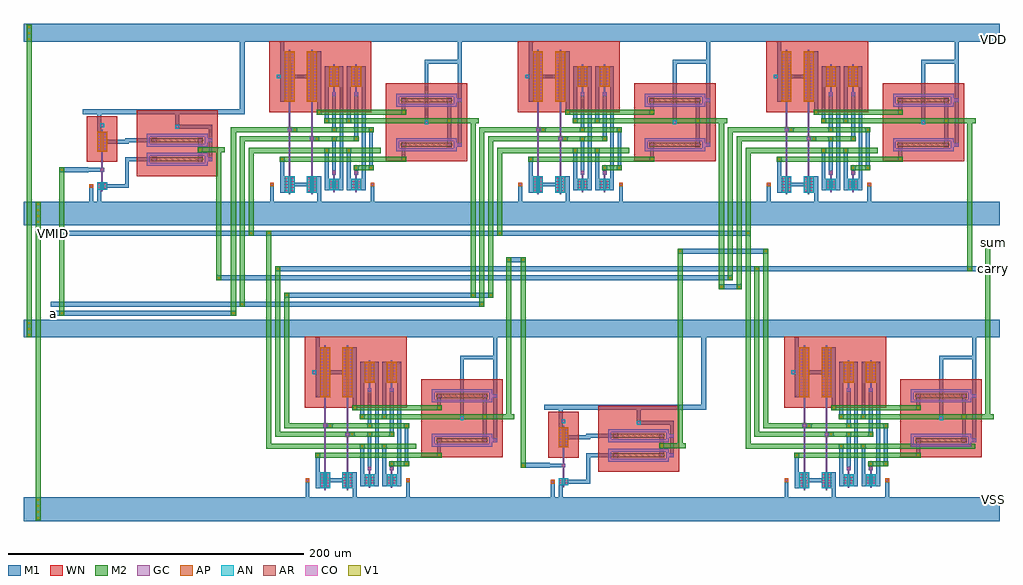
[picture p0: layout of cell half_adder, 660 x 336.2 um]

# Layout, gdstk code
import gdstk
lib = gdstk.Library(unit=1e-6, precision=1e-09)
def R(c, l, rs):  # rectangles x0, y0, x1, y1
    for r in rs: c.add(gdstk.rectangle(r[:2], r[2:], *l))
def A(c, l, x, y, w, h, nx, ny, dx, dy):  # array of equal rectangles
    R(c, l, [(x+i*dx, y+j*dy, x+i*dx+w, y+j*dy+h) for i in range(nx) for j in range(ny)])
def P(c, l, *ps):  # polygons
    for p in ps: c.add(gdstk.Polygon(p, *l))
AP = (3, 1)
AN = (3, 2)
AR = (3, 3)
GC = (8, 1)
CO = (11, 0)
M1 = (13, 0)
V1 = (19, 0)
M2 = (20, 0)
WN = (140, 0)

fet_p = lib.new_cell('fet_p')
R(fet_p, AP, [(-3.3,-6.75,3.3,6.75)])
A(fet_p, CO, -2.5, -5.5, 1, 1, 1, 6, 0, 2)
A(fet_p, CO, 1.5, -5.5, 1, 1, 1, 6, 0, 2)
R(fet_p, M1, [(-3.3,-6.3,-0.7,6.3), (0.7,-6.3,3.3,6.3)])
fet_p.add(gdstk.FlexPath([(0,-7.95),(0,7.95)], 1, ends="flush", simple_path=True, layer=8, datatype=1))  # GC

fet_n = lib.new_cell('fet_n')
R(fet_n, AN, [(-3.3,-2.5,3.3,2.5)])
R(fet_n, CO, [(-2.5,-1.5,-1.5,-0.5), (1.5,-1.5,2.5,-0.5), (-2.5,0.5,-1.5,1.5), (1.5,0.5,2.5,1.5)])
R(fet_n, M1, [(-3.3,-2.3,-0.7,2.3), (0.7,-2.3,3.3,2.3)])
fet_n.add(gdstk.FlexPath([(0,-3.7),(0,3.7)], 1, ends="flush", simple_path=True, layer=8, datatype=1))  # GC

res_diff = lib.new_cell('res_diff')
P(res_diff, AR, [(-16.5,-1.4),(-17.5,-0.4),(-17.5,0.4),(-16.5,1.4),(16.5,1.4),(17.5,0.4),(17.5,-0.4),(16.5,-1.4)])
P(res_diff, GC, [(-20.5,-4.4),(-20.5,2.4),(-18.5,2.4),(-18.5,-2.4),(18.5,-2.4),(18.5,2.4),(-20.5,2.4),(-20.5,4.4),(20.5,4.4),(20.5,-4.4)])
R(res_diff, CO, [(-16,-0.5,-15,0.5), (15,-0.5,16,0.5)])
R(res_diff, M1, [(-17.2,-1.7,-13.8,1.7), (13.8,-1.7,17.2,1.7)])

cont_n = lib.new_cell('cont_n')
R(cont_n, AN, [(-1.3,-1.3,1.3,1.3)])
R(cont_n, CO, [(-0.5,-0.5,0.5,0.5)])
R(cont_n, M1, [(-1.3,-1.3,1.3,1.3)])

cont_p = lib.new_cell('cont_p')
R(cont_p, AP, [(-1.3,-1.3,1.3,1.3)])
R(cont_p, CO, [(-0.5,-0.5,0.5,0.5)])
R(cont_p, M1, [(-1.3,-1.3,1.3,1.3)])

cont_g = lib.new_cell('cont_g')
R(cont_g, GC, [(-1.3,-1.3,1.3,1.3)])
R(cont_g, CO, [(-0.5,-0.5,0.5,0.5)])
R(cont_g, M1, [(-1.3,-1.3,1.3,1.3)])

via_1 = lib.new_cell('via_1')
R(via_1, M1, [(-1.7,-1.7,1.7,1.7)])
R(via_1, V1, [(-0.7,-0.7,0.7,0.7)])
R(via_1, M2, [(-1.7,-1.7,1.7,1.7)])

inverter = lib.new_cell('inverter')
R(inverter, GC, [(12.7,13.5,13.7,44.5), (83.2,30.7,87.8,33.3), (83.2,43.7,87.8,46.3)])
R(inverter, M1, [(0,0,96,3.4), (4.5,0.4,7.1,15.3), (9.9,0.4,12.5,15.3), (13.9,12.7,31.3,15.3), (28.7,12.7,31.3,33.3), (0,23.7,13.2,26.3), (28.7,30.7,49.8,33.3), (78.2,30.7,80.8,46.3), (85.2,30.7,87.8,55.3), (9.9,42.7,12.5,65.6), (13.9,42.7,31.3,45.3), (28.7,42.7,31.3,46.3), (28.7,43.7,49.8,46.3), (62.7,52.7,65.3,65.6), (62.7,52.7,87.8,55.3), (9.9,53.7,14.5,56.3), (0,62.6,96,66)])
R(inverter, M2, [(79.5,36.8,96,40.2)])
R(inverter, WN, [(36.5,20.6,91.5,65.3), (2.9,30.25,23.5,61.3)])
inverter.add(gdstk.Reference(fet_p, (13.2,44)))
inverter.add(gdstk.Reference(fet_n, (13.2,14)))
inverter.add(gdstk.Reference(res_diff, (64,45)))
inverter.add(gdstk.Reference(res_diff, (64,32)))
inverter.add(gdstk.Reference(cont_n, (13.2,55)))
inverter.add(gdstk.Reference(cont_n, (64,54)))
inverter.add(gdstk.Reference(cont_p, (5.8,14)))
inverter.add(gdstk.Reference(cont_g, (86.5,32)))
inverter.add(gdstk.Reference(cont_g, (86.5,45)))
inverter.add(gdstk.Reference(cont_g, (13.2,25)))
inverter.add(gdstk.Reference(via_1, (79.5,38.5)))
inverter.add(gdstk.Label('vin', (2,25), layer=48, texttype=0))
inverter.add(gdstk.Label('VDD', (48,64.3), layer=48, texttype=0))
inverter.add(gdstk.Label('VSS', (48,1.7), layer=48, texttype=0))
inverter.add(gdstk.Label('vout', (94,38.5), layer=49, texttype=0))

fet_p_1 = lib.new_cell('fet_p$1')
R(fet_p_1, AP, [(-3.3,-17,3.3,17)])
A(fet_p_1, CO, -2.5, -15.5, 1, 1, 1, 16, 0, 2)
A(fet_p_1, CO, 1.5, -15.5, 1, 1, 1, 16, 0, 2)
R(fet_p_1, M1, [(-3.3,-16.3,-0.7,16.3), (0.7,-16.3,3.3,16.3)])
fet_p_1.add(gdstk.FlexPath([(0,-18.2),(0,18.2)], 1, ends="flush", simple_path=True, layer=8, datatype=1))  # GC

fet_p_2 = lib.new_cell('fet_p$2')
R(fet_p_2, AP, [(-3.3,-7,3.3,7)])
A(fet_p_2, CO, -2.5, -5.5, 1, 1, 1, 6, 0, 2)
A(fet_p_2, CO, 1.5, -5.5, 1, 1, 1, 6, 0, 2)
R(fet_p_2, M1, [(-3.3,-6.3,-0.7,6.3), (0.7,-6.3,3.3,6.3)])
fet_p_2.add(gdstk.FlexPath([(0,-8.2),(0,8.2)], 1, ends="flush", simple_path=True, layer=8, datatype=1))  # GC

fet_n_1 = lib.new_cell('fet_n$1')
R(fet_n_1, AN, [(-3.3,-5.5,3.3,5.5)])
A(fet_n_1, CO, -2.5, -4.5, 1, 1, 1, 5, 0, 2)
A(fet_n_1, CO, 1.5, -4.5, 1, 1, 1, 5, 0, 2)
R(fet_n_1, M1, [(-3.3,-5.3,-0.7,5.3), (0.7,-5.3,3.3,5.3)])
fet_n_1.add(gdstk.FlexPath([(0,-6.7),(0,6.7)], 1, ends="flush", simple_path=True, layer=8, datatype=1))  # GC

fet_n_2 = lib.new_cell('fet_n$2')
R(fet_n_2, AN, [(-3.3,-4,3.3,4)])
A(fet_n_2, CO, -2.5, -2.5, 1, 1, 1, 3, 0, 2)
A(fet_n_2, CO, 1.5, -2.5, 1, 1, 1, 3, 0, 2)
R(fet_n_2, M1, [(-3.3,-3.3,-0.7,3.3), (0.7,-3.3,3.3,3.3)])
fet_n_2.add(gdstk.FlexPath([(0,-5.2),(0,5.2)], 1, ends="flush", simple_path=True, layer=8, datatype=1))  # GC

nany = lib.new_cell('nany')
R(nany, GC, [(19.5,14.5,20.5,88.5), (34.5,14.5,35.5,88.5), (49.5,14.5,50.5,23.5), (64.5,14.5,65.5,23.5), (131.7,40.7,136.3,43.3), (131.7,70.7,136.3,73.3), (49.5,75.5,50.5,88.5), (64.5,75.5,65.5,88.5)])
R(nany, M1, [(0,0,148,3.4), (6.7,0.4,9.3,16.3), (38.7,0.4,41.3,16.3), (74.7,0.4,77.3,16.3), (13.7,9.5,19.3,20.5), (35.7,9.5,41.3,20.5), (43.7,11,49.3,19), (50.7,11,56.3,19), (58.7,11,64.3,19), (65.7,11,71.3,19), (13.7,13.7,19.3,16.3), (13.7,13.7,16.3,33.3), (20.7,13.7,34.3,16.3), (35.7,13.7,41.3,16.3), (43.7,13.7,49.3,16.3), (43.7,13.7,46.3,39.3), (50.7,13.7,56.3,16.3), (53.7,13.7,56.3,89.3), (58.7,13.7,64.3,16.3), (58.7,13.7,61.3,39.3), (65.7,13.7,71.3,16.3), (68.7,13.7,71.3,89.3), (48.7,21.7,51.3,47.3), (48.7,21.7,51.3,24.3), (63.7,21.7,66.3,27.6), (73.7,25,76.3,27.6), (73.7,25,76.3,53.3), (95.7,30.7,98.3,43.3), (95.7,40.7,98.3,43.3), (126.7,40.7,129.3,73.3), (133.7,40.7,136.3,99.3), (33.7,44.7,39.6,47.3), (63.7,44.7,66.3,77.3), (18.7,50.7,24.6,53.3), (48.7,50.7,51.3,77.3), (111.2,55.7,113.8,99.3), (43.7,56.7,46.3,89.3), (58.7,56.7,61.3,89.3), (38.7,62.7,41.3,89.3), (95.7,62.7,98.3,73.3), (95.7,70.7,98.3,73.3), (13.7,71,19.3,105), (35.7,71,41.3,105), (48.7,74.7,51.3,77.3), (63.7,74.7,66.3,77.3), (43.7,81,49.3,95), (50.7,81,56.3,95), (58.7,81,64.3,95), (65.7,81,71.3,95), (11.3,86.7,16.3,89.3), (13.7,86.7,16.3,114.6), (13.7,86.7,19.3,89.3), (20.7,86.7,34.3,89.3), (35.7,86.7,41.3,89.3), (43.7,86.7,49.3,89.3), (50.7,86.7,56.3,89.3), (58.7,86.7,64.3,89.3), (65.7,86.7,71.3,89.3), (111.2,96.7,136.3,99.3), (133.7,96.7,136.3,114.6), (0,111.6,148,115)])
R(nany, M2, [(63.3,24.6,76.7,28), (13.3,30.3,98.7,33.7), (0,36.3,81.7,39.7), (0,44.3,66.7,47.7), (0,50.3,76.7,53.7), (43.3,56.3,148,59.7), (38.3,62.3,98.7,65.7)])
R(nany, WN, [(85,30.6,140,83.4), (6.3,64,75.3,112)])
nany.add(gdstk.Reference(fet_p_1, (20,88)))
nany.add(gdstk.Reference(fet_p_1, (35,88)))
nany.add(gdstk.Reference(fet_p_2, (50,88)))
nany.add(gdstk.Reference(fet_p_2, (65,88)))
nany.add(gdstk.Reference(fet_n_1, (20,15)))
nany.add(gdstk.Reference(fet_n_1, (35,15)))
nany.add(gdstk.Reference(fet_n_2, (50,15)))
nany.add(gdstk.Reference(fet_n_2, (65,15)))
nany.add(gdstk.Reference(res_diff, (112.5,72)))
nany.add(gdstk.Reference(res_diff, (112.5,42)))
nany.add(gdstk.Reference(cont_n, (12.6,88)))
nany.add(gdstk.Reference(cont_n, (112.5,57)))
nany.add(gdstk.Reference(cont_p, (8,15)))
nany.add(gdstk.Reference(cont_p, (76,15)))
nany.add(gdstk.Reference(cont_g, (135,42)))
nany.add(gdstk.Reference(cont_g, (135,72)))
nany.add(gdstk.Reference(via_1, (40,64)))
nany.add(gdstk.Reference(via_1, (15,32)))
nany.add(gdstk.Reference(via_1, (45,58)))
nany.add(gdstk.Reference(via_1, (45,38)))
nany.add(gdstk.Reference(via_1, (60,58)))
nany.add(gdstk.Reference(via_1, (60,38)))
nany.add(gdstk.Reference(cont_g, (20,52)))
nany.add(gdstk.Reference(via_1, (23.3,52)))
nany.add(gdstk.Reference(cont_g, (35,46)))
nany.add(gdstk.Reference(via_1, (38.3,46)))
nany.add(gdstk.Reference(cont_g, (50,76)))
nany.add(gdstk.Reference(via_1, (50,52)))
nany.add(gdstk.Reference(cont_g, (65,76)))
nany.add(gdstk.Reference(via_1, (65,46)))
nany.add(gdstk.Reference(cont_g, (50,23)))
nany.add(gdstk.Reference(cont_g, (65,23)))
nany.add(gdstk.Reference(via_1, (50,46)))
nany.add(gdstk.Reference(via_1, (65,26.3)))
nany.add(gdstk.Reference(via_1, (75,26.3)))
nany.add(gdstk.Reference(via_1, (75,52)))
nany.add(gdstk.Reference(via_1, (97,64)))
nany.add(gdstk.Reference(via_1, (97,32)))
nany.add(gdstk.Reference(via_1, (128,58)))
nany.add(gdstk.Label('VDD', (74,113.3), layer=48, texttype=0))
nany.add(gdstk.Label('VSS', (74,1.7), layer=48, texttype=0))
nany.add(gdstk.Label('a', (2,52), layer=49, texttype=0))
nany.add(gdstk.Label('b', (2,46), layer=49, texttype=0))
nany.add(gdstk.Label('vout', (146,58), layer=49, texttype=0))
nany.add(gdstk.Label('VMID', (74,38), layer=49, texttype=0))

half_adder = lib.new_cell('half_adder')
A(half_adder, M1, 8.3, -12, 3.4, 3.4, 1, 4, 0, 4)
A(half_adder, M1, 2.3, 111.6, 3.4, 3.4, 1, 3, 0, 4)
A(half_adder, M1, 8.3, 188, 3.4, 3.4, 1, 4, 0, 4)
A(half_adder, M1, 2.3, 311.6, 3.4, 3.4, 1, 3, 0, 4)
R(half_adder, M1, [(0,-12.6,660,3.4), (336.3,23.3,355.7,26.7), (336.3,23.3,339.7,26.7), (444.6,62.6,461.7,66), (458.3,62.6,461.7,115), (0,111.6,660,123.6), (18.3,126.3,143.7,129.7), (24.3,126.3,27.7,129.7), (140.3,126.3,143.7,129.7), (18.3,132.3,311.7,135.7), (146.3,132.3,149.7,135.7), (308.3,132.3,311.7,135.7), (176.3,138.3,179.7,141.7), (176.3,138.3,317.7,141.7), (302.3,138.3,305.7,141.7), (314.3,138.3,317.7,141.7), (470.3,144.3,473.7,147.7), (470.3,144.3,485.7,147.7), (482.3,144.3,485.7,147.7), (130.3,150.3,133.7,153.7), (130.3,150.3,479.7,153.7), (476.3,150.3,479.7,153.7), (170.3,156.3,173.7,159.7), (170.3,156.3,657.7,159.7), (494.3,156.3,497.7,159.7), (638.3,156.3,641.7,159.7), (326.3,162.3,329.7,165.7), (326.3,162.3,339.7,165.7), (336.3,162.3,339.7,165.7), (442.3,168.3,445.7,171.7), (442.3,168.3,503.7,171.7), (500.3,168.3,503.7,171.7), (650.3,174.3,653.7,177.7), (650.3,174.3,657.7,177.7), (18.3,180.3,491.7,183.7), (152.3,180.3,155.7,183.7), (164.3,180.3,167.7,183.7), (320.3,180.3,323.7,183.7), (488.3,180.3,491.7,183.7), (488.3,180.3,491.7,183.7), (0,187.4,660,203.4), (24.3,223.3,43.7,226.7), (24.3,223.3,27.7,226.7), (132.6,262.6,149.7,266), (146.3,262.6,149.7,315), (0,311.6,660,323.6)])
A(half_adder, V1, 9.3, -11, 1.4, 1.4, 1, 4, 0, 4)
A(half_adder, V1, 3.3, 112.6, 1.4, 1.4, 1, 3, 0, 4)
A(half_adder, V1, 9.3, 189, 1.4, 1.4, 1, 4, 0, 4)
A(half_adder, V1, 3.3, 312.6, 1.4, 1.4, 1, 3, 0, 4)
R(half_adder, V1, [(337.3,24.3,338.7,25.7), (25.3,127.3,26.7,128.7), (141.3,127.3,142.7,128.7), (147.3,133.3,148.7,134.7), (309.3,133.3,310.7,134.7), (177.3,139.3,178.7,140.7), (303.3,139.3,304.7,140.7), (315.3,139.3,316.7,140.7), (471.3,145.3,472.7,146.7), (483.3,145.3,484.7,146.7), (131.3,151.3,132.7,152.7), (477.3,151.3,478.7,152.7), (171.3,157.3,172.7,158.7), (495.3,157.3,496.7,158.7), (639.3,157.3,640.7,158.7), (327.3,163.3,328.7,164.7), (337.3,163.3,338.7,164.7), (443.3,169.3,444.7,170.7), (501.3,169.3,502.7,170.7), (651.3,175.3,652.7,176.7), (153.3,181.3,154.7,182.7), (165.3,181.3,166.7,182.7), (321.3,181.3,322.7,182.7), (489.3,181.3,490.7,182.7), (489.3,181.3,490.7,182.7), (25.3,224.3,26.7,225.7)])
A(half_adder, M2, 8.3, -12, 3.4, 3.4, 1, 4, 0, 4)
A(half_adder, M2, 2.3, 111.6, 3.4, 3.4, 1, 3, 0, 4)
A(half_adder, M2, 152.3, 180.3, 3.4, 59.4, 3, 1, 168, 0)
A(half_adder, M2, 8.3, 188, 3.4, 3.4, 1, 4, 0, 4)
A(half_adder, M2, 152.3, 236.3, 83.4, 3.4, 3, 1, 168, 0)
A(half_adder, M2, 146.3, 244.3, 17.4, 3.4, 3, 1, 168, 0)
A(half_adder, M2, 140.3, 250.3, 23.4, 3.4, 3, 1, 168, 0)
A(half_adder, M2, 302.3, 256.3, 5.4, 3.4, 3, 1, 168, 0)
A(half_adder, M2, 2.3, 311.6, 3.4, 3.4, 1, 3, 0, 4)
R(half_adder, M2, [(8.3,-12,11.7,3.4), (8.3,0,11.7,203.4), (336.3,23.3,339.7,26.7), (336.3,23.3,339.7,165.7), (164.3,36.3,259.7,39.7), (164.3,36.3,167.7,183.7), (488.3,36.3,583.7,39.7), (488.3,36.3,491.7,183.7), (586.3,36.3,643.7,39.7), (442.3,36.8,447.7,40.2), (442.3,36.8,445.7,171.7), (170.3,44.3,187.7,47.7), (170.3,44.3,173.7,159.7), (494.3,44.3,511.7,47.7), (494.3,44.3,497.7,159.7), (176.3,50.3,187.7,53.7), (176.3,50.3,179.7,141.7), (500.3,50.3,503.7,171.7), (500.3,50.3,511.7,53.7), (326.3,56.3,331.7,59.7), (326.3,56.3,329.7,165.7), (650.3,56.3,655.7,59.7), (650.3,56.3,653.7,177.7), (2.3,111.6,5.7,123), (2.3,111.6,5.7,315), (24.3,126.3,27.7,129.7), (24.3,126.3,27.7,226.7), (140.3,126.3,143.7,129.7), (140.3,126.3,143.7,253.7), (146.3,132.3,149.7,135.7), (146.3,132.3,149.7,247.7), (308.3,132.3,311.7,135.7), (308.3,132.3,311.7,253.7), (176.3,138.3,179.7,141.7), (302.3,138.3,305.7,141.7), (302.3,138.3,305.7,259.7), (314.3,138.3,317.7,141.7), (314.3,138.3,317.7,247.7), (470.3,144.3,473.7,147.7), (470.3,144.3,473.7,259.7), (482.3,144.3,485.7,147.7), (482.3,144.3,485.7,247.7), (130.3,150.3,133.7,153.7), (130.3,150.3,133.7,240.2), (476.3,150.3,479.7,153.7), (476.3,150.3,479.7,253.7), (170.3,156.3,173.7,159.7), (494.3,156.3,497.7,159.7), (638.3,156.3,641.7,159.7), (638.3,156.3,641.7,259.7), (326.3,162.3,329.7,165.7), (336.3,162.3,339.7,165.7), (442.3,168.3,445.7,171.7), (500.3,168.3,503.7,171.7), (650.3,174.3,653.7,177.7), (152.3,180.3,155.7,183.7), (164.3,180.3,167.7,183.7), (320.3,180.3,323.7,183.7), (488.3,180.3,491.7,183.7), (488.3,180.3,491.7,183.7), (8.3,188,11.7,203.4), (24.3,223.3,27.7,226.7), (130.3,236.8,135.7,240.2), (2.3,311.6,5.7,323)])
half_adder.add(gdstk.Reference(inverter, (40,200)))
half_adder.add(gdstk.Reference(nany, (160,200)))
half_adder.add(gdstk.Reference(nany, (328,200)))
half_adder.add(gdstk.Reference(nany, (496,200)))
half_adder.add(gdstk.Reference(nany, (184,0)))
half_adder.add(gdstk.Reference(inverter, (352,0)))
half_adder.add(gdstk.Reference(nany, (508,0)))
half_adder.add(gdstk.Label('a', (20,128), layer=48, texttype=0))
half_adder.add(gdstk.Label('b', (20,134), layer=48, texttype=0))
half_adder.add(gdstk.Label('carry', (656,158), layer=48, texttype=0))
half_adder.add(gdstk.Label('sum', (656,176), layer=48, texttype=0))
half_adder.add(gdstk.Label('VMID', (20,182), layer=48, texttype=0))
half_adder.add(gdstk.Label('VDD', (656,313.3), layer=48, texttype=0))
half_adder.add(gdstk.Label('VSS', (656,1.7), layer=48, texttype=0))

lib.write_gds('half_adder.gds')
